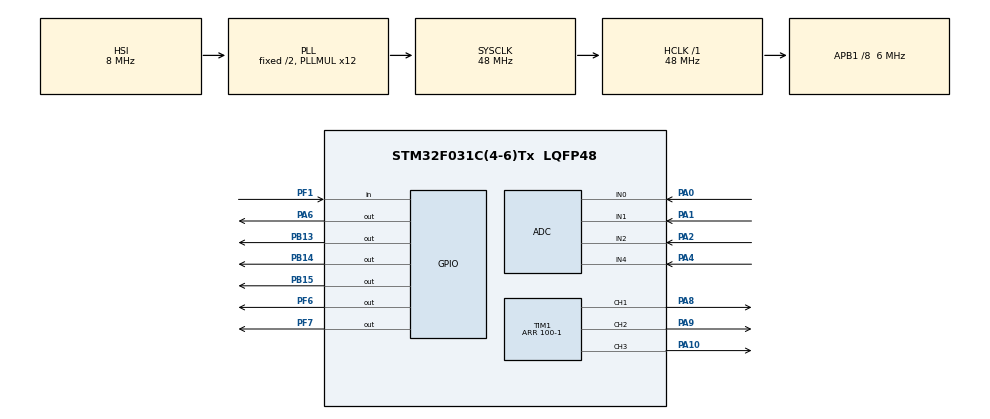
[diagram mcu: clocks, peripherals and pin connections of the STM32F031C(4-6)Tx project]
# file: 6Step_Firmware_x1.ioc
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Mcu.Family=STM32F0
PF7.PinState=GPIO_PIN_SET
TIM1.CounterMode=TIM_COUNTERMODE_CENTERALIGNED3
TIM1.Pulse-PWM\ Generation1\ CH1=50-1
RCC.APB1CLKDivider=RCC_HCLK_DIV8
PB13.Signal=GPIO_Output
PB15.Signal=GPIO_Output
RCC.SYSCLKSource=RCC_SYSCLKSOURCE_PLLCLK
ProjectManager.StackSize=0x400
VP_TIM2_VS_ClockSourceITR.Mode=TriggerSource_ITR0
TIM1.Pulse-PWM\ Generation3\ CH3=50-1
SH.S_TIM1_CH1.0=TIM1_CH1,PWM Generation1 CH1
NVIC.ADC1_IRQn=true\:0\:0\:true\:false\:true\:true\:true
PF6.Signal=GPIO_Output
PA4.Mode=IN4
PF6.PinState=GPIO_PIN_SET
ProjectManager.TargetToolchain=SW4STM32
PF7.Signal=GPIO_Output
VP_TIM2_VS_ControllerModeClock.Mode=Clock Mode
RCC.HCLKFreq_Value=48000000
PF1-OSC_OUT.GPIO_PuPd=GPIO_PULLUP
TIM3.Period=3
PA9.Signal=S_TIM1_CH2
TIM1.Channel-PWM\ Generation2\ CH2=TIM_CHANNEL_2
VP_TIM3_VS_ControllerModeClock.Mode=Clock Mode
PA1.Signal=ADC_IN1
RCC.AHBFreq_Value=48000000
PB14.Signal=GPIO_Output
board=custom
RCC.PLLMUL=RCC_PLL_MUL12
NVIC.TIM3_IRQn=true\:2\:0\:true\:false\:true\:true\:true
TIM1.TIM_MasterOutputTrigger=TIM_TRGO_UPDATE
PA1.Mode=IN1
SH.S_TIM1_CH2.0=TIM1_CH2,PWM Generation2 CH2
TIM1.Channel-PWM\ Generation1\ CH1=TIM_CHANNEL_1
NVIC.TIM2_IRQn=true\:1\:0\:true\:false\:true\:true\:true
PA0.Mode=IN0
PA8.Signal=S_TIM1_CH1
TIM2.Period=300
VP_TIM3_VS_ClockSourceITR.Mode=TriggerSource_ITR0
Mcu.Name=STM32F031C(4-6)Tx
PA2.Signal=ADC_IN2
PA0.Signal=ADC_IN0
PA4.Signal=ADC_IN4
RCC.SYSCLKFreq_VALUE=48000000
Mcu.Package=LQFP48
TIM2.Prescaler=500
PA6.Signal=GPIO_Output
TIM1.Pulse-PWM\ Generation2\ CH2=50-1
PA10.Signal=S_TIM1_CH3
ProjectManager.HeapSize=0x200
SH.S_TIM1_CH3.0=TIM1_CH3,PWM Generation3 CH3
RCC.APB1TimFreq_Value=12000000
PA2.Mode=IN2
TIM2.AutoReloadPreload=TIM_AUTORELOAD_PRELOAD_ENABLE
TIM1.Period=100-1
TIM1.Channel-PWM\ Generation3\ CH3=TIM_CHANNEL_3
RCC.APB1Freq_Value=6000000
ADC.ExternalTrigConv=ADC_EXTERNALTRIGCONV_T1_TRGO
PF1-OSC_OUT.Signal=GPIO_Input
TIM1.TIM_MasterSlaveMode=TIM_MASTERSLAVEMODE_ENABLE

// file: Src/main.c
/* USER CODE BEGIN Header */
/**
  ******************************************************************************
  * @file           : main.c
  * @brief          : Main program body
  ******************************************************************************
  * @attention
  *
  * <h2><center>&copy; Copyright (c) 2020 STMicroelectronics.
  * All rights reserved.</center></h2>
  *
  * This software component is licensed by ST under BSD 3-Clause license,
  * the "License"; You may not use this file except in compliance with the
  * License. You may obtain a copy of the License at:
  *                        opensource.org/licenses/BSD-3-Clause
  *
  ******************************************************************************
  */
/* USER CODE END Header */

#include "main.h"

/* USER CODE BEGIN Includes */
#include "stm32f0xx_hal.h"
#include "CurrentController.h"
#include "StepManager.h"
#include "StepManager_defs.h"
/* USER CODE END Includes */

/* USER CODE BEGIN PTD */
#define ADC_CURRENT_CHANNEL (ADC_CHANNEL_4)
/* USER CODE END PTD */

ADC_HandleTypeDef hadc;

TIM_HandleTypeDef htim1;
TIM_HandleTypeDef htim2;
TIM_HandleTypeDef htim3;

void SystemClock_Config(void);
static void MX_GPIO_Init(void);
static void MX_ADC_Init(void);
static void MX_TIM1_Init(void);
static void MX_TIM2_Init(void);
static void MX_TIM3_Init(void);

/* USER CODE BEGIN 0 */

// ADC Channel selection function copied from ST's MC SDK
static inline void ADC_Channel(uint32_t adc_ch)
{

  hadc.Instance->CR |= ADC_CR_ADSTP;
  while(hadc.Instance->CR & ADC_CR_ADSTP);
  /* Regular sequence configuration */
  /* Set the channel selection register from the selected channel */
  hadc.Instance->CHSELR = ADC_CHSELR_CHANNEL(adc_ch);
  hadc.Instance->CR |= ADC_CR_ADSTART;

}

void sampleBEMF()
{
  uint32_t bemf = HAL_ADC_GetValue(&hadc);
  SM_processBEMF(bemf);
  ADC_Channel(ADC_CURRENT_CHANNEL);
}

void sampleCurrent()
{
	uint32_t current = HAL_ADC_GetValue(&hadc);
	CC_processCurrent(current);
	uint32_t bemfchannel = SM_getBEMFChannel();
	ADC_Channel(bemfchannel);
}

/* USER CODE END 0 */

int main(void)
{

  /* MCU Configuration--------------------------------------------------------*/

  /* Reset of all peripherals, Initializes the Flash interface and the Systick. */
  HAL_Init();

  /* Configure the system clock */
  SystemClock_Config();

  /* Initialize all configured peripherals */
  MX_GPIO_Init();
  while (HAL_GPIO_ReadPin(GPIOF, GPIO_PIN_1) == GPIO_PIN_SET); //wait until button pressed to do anything
  MX_ADC_Init();
  MX_TIM1_Init();
  MX_TIM2_Init();
  MX_TIM3_Init();
  /* USER CODE BEGIN 2 */
  HAL_TIM_Base_Start_IT(&htim2);
  HAL_TIM_Base_Start_IT(&htim3);
  HAL_ADC_Start_IT(&hadc);
  SM_init();
  /* USER CODE END 2 */

  /* Infinite loop */
  while (1)
  {

  }
}

void SystemClock_Config(void)
{
  RCC_OscInitTypeDef RCC_OscInitStruct = {0};
  RCC_ClkInitTypeDef RCC_ClkInitStruct = {0};

  /** Initializes the CPU, AHB and APB busses clocks
  */
  RCC_OscInitStruct.OscillatorType = RCC_OSCILLATORTYPE_HSI|RCC_OSCILLATORTYPE_HSI14;
  RCC_OscInitStruct.HSIState = RCC_HSI_ON;
  RCC_OscInitStruct.HSI14State = RCC_HSI14_ON;
  RCC_OscInitStruct.HSICalibrationValue = RCC_HSICALIBRATION_DEFAULT;
  RCC_OscInitStruct.HSI14CalibrationValue = 16;
  RCC_OscInitStruct.PLL.PLLState = RCC_PLL_ON;
  RCC_OscInitStruct.PLL.PLLSource = RCC_PLLSOURCE_HSI;
  RCC_OscInitStruct.PLL.PLLMUL = RCC_PLL_MUL12;
  RCC_OscInitStruct.PLL.PREDIV = RCC_PREDIV_DIV1;
  if (HAL_RCC_OscConfig(&RCC_OscInitStruct) != HAL_OK)
  {
    Error_Handler();
  }
  /** Initializes the CPU, AHB and APB busses clocks
  */
  RCC_ClkInitStruct.ClockType = RCC_CLOCKTYPE_HCLK|RCC_CLOCKTYPE_SYSCLK
                              |RCC_CLOCKTYPE_PCLK1;
  RCC_ClkInitStruct.SYSCLKSource = RCC_SYSCLKSOURCE_PLLCLK;
  RCC_ClkInitStruct.AHBCLKDivider = RCC_SYSCLK_DIV1;
  RCC_ClkInitStruct.APB1CLKDivider = RCC_HCLK_DIV8;

  if (HAL_RCC_ClockConfig(&RCC_ClkInitStruct, FLASH_LATENCY_1) != HAL_OK)
  {
    Error_Handler();
  }
}

static void MX_ADC_Init(void)
{

  ADC_ChannelConfTypeDef sConfig = {0};

  /** Configure the global features of the ADC (Clock, Resolution, Data Alignment and number of conversion)
  */
  hadc.Instance = ADC1;
  hadc.Init.ClockPrescaler = ADC_CLOCK_ASYNC_DIV1;
  hadc.Init.Resolution = ADC_RESOLUTION_12B;
  hadc.Init.DataAlign = ADC_DATAALIGN_RIGHT;
  hadc.Init.ScanConvMode = ADC_SCAN_DIRECTION_FORWARD;
  hadc.Init.EOCSelection = ADC_EOC_SINGLE_CONV;
  hadc.Init.LowPowerAutoWait = DISABLE;
  hadc.Init.LowPowerAutoPowerOff = DISABLE;
  hadc.Init.ContinuousConvMode = DISABLE;
  hadc.Init.DiscontinuousConvMode = DISABLE;
  hadc.Init.ExternalTrigConv = ADC_EXTERNALTRIGCONV_T1_TRGO;
  hadc.Init.ExternalTrigConvEdge = ADC_EXTERNALTRIGCONVEDGE_RISING;
  hadc.Init.DMAContinuousRequests = DISABLE;
  hadc.Init.Overrun = ADC_OVR_DATA_PRESERVED;
  if (HAL_ADC_Init(&hadc) != HAL_OK)
  {
    Error_Handler();
  }
  /** Configure for the selected ADC regular channel to be converted.
  */
  sConfig.Channel = ADC_CHANNEL_0;
  sConfig.Rank = ADC_RANK_CHANNEL_NUMBER;
  sConfig.SamplingTime = ADC_SAMPLETIME_1CYCLE_5;
  if (HAL_ADC_ConfigChannel(&hadc, &sConfig) != HAL_OK)
  {
    Error_Handler();
  }
  /** Configure for the selected ADC regular channel to be converted.
  */
  sConfig.Channel = ADC_CHANNEL_1;
  if (HAL_ADC_ConfigChannel(&hadc, &sConfig) != HAL_OK)
  {
    Error_Handler();
  }
  /** Configure for the selected ADC regular channel to be converted.
  */
  sConfig.Channel = ADC_CHANNEL_2;
  if (HAL_ADC_ConfigChannel(&hadc, &sConfig) != HAL_OK)
  {
    Error_Handler();
  }
  /** Configure for the selected ADC regular channel to be converted.
  */
  sConfig.Channel = ADC_CHANNEL_4;
  if (HAL_ADC_ConfigChannel(&hadc, &sConfig) != HAL_OK)
  {
    Error_Handler();
  }

}

static void MX_TIM1_Init(void)
{

  TIM_MasterConfigTypeDef sMasterConfig = {0};
  TIM_OC_InitTypeDef sConfigOC = {0};
  TIM_BreakDeadTimeConfigTypeDef sBreakDeadTimeConfig = {0};

  htim1.Instance = TIM1;
  htim1.Init.Prescaler = 0;
  htim1.Init.CounterMode = TIM_COUNTERMODE_CENTERALIGNED3;
  htim1.Init.Period = HF_TIM_PERIOD;
  htim1.Init.ClockDivision = TIM_CLOCKDIVISION_DIV1;
  htim1.Init.RepetitionCounter = 0;
  htim1.Init.AutoReloadPreload = TIM_AUTORELOAD_PRELOAD_DISABLE;
  if (HAL_TIM_PWM_Init(&htim1) != HAL_OK)
  {
    Error_Handler();
  }
  sMasterConfig.MasterOutputTrigger = TIM_TRGO_UPDATE;
  sMasterConfig.MasterSlaveMode = TIM_MASTERSLAVEMODE_ENABLE;
  if (HAL_TIMEx_MasterConfigSynchronization(&htim1, &sMasterConfig) != HAL_OK)
  {
    Error_Handler();
  }
  sConfigOC.OCMode = TIM_OCMODE_PWM1;
  sConfigOC.Pulse = 50-1;
  sConfigOC.OCPolarity = TIM_OCPOLARITY_HIGH;
  sConfigOC.OCNPolarity = TIM_OCNPOLARITY_HIGH;
  sConfigOC.OCFastMode = TIM_OCFAST_DISABLE;
  sConfigOC.OCIdleState = TIM_OCIDLESTATE_RESET;
  sConfigOC.OCNIdleState = TIM_OCNIDLESTATE_RESET;
  if (HAL_TIM_PWM_ConfigChannel(&htim1, &sConfigOC, TIM_CHANNEL_1) != HAL_OK)
  {
    Error_Handler();
  }
  if (HAL_TIM_PWM_ConfigChannel(&htim1, &sConfigOC, TIM_CHANNEL_2) != HAL_OK)
  {
    Error_Handler();
  }
  if (HAL_TIM_PWM_ConfigChannel(&htim1, &sConfigOC, TIM_CHANNEL_3) != HAL_OK)
  {
    Error_Handler();
  }
  sBreakDeadTimeConfig.OffStateRunMode = TIM_OSSR_DISABLE;
  sBreakDeadTimeConfig.OffStateIDLEMode = TIM_OSSI_DISABLE;
  sBreakDeadTimeConfig.LockLevel = TIM_LOCKLEVEL_OFF;
  sBreakDeadTimeConfig.DeadTime = 0;
  sBreakDeadTimeConfig.BreakState = TIM_BREAK_DISABLE;
  sBreakDeadTimeConfig.BreakPolarity = TIM_BREAKPOLARITY_HIGH;
  sBreakDeadTimeConfig.AutomaticOutput = TIM_AUTOMATICOUTPUT_DISABLE;
  if (HAL_TIMEx_ConfigBreakDeadTime(&htim1, &sBreakDeadTimeConfig) != HAL_OK)
  {
    Error_Handler();
  }
  HAL_TIM_MspPostInit(&htim1);

}

static void MX_TIM2_Init(void)
{

  TIM_SlaveConfigTypeDef sSlaveConfig = {0};
  TIM_MasterConfigTypeDef sMasterConfig = {0};

  htim2.Instance = TIM2;
  htim2.Init.Prescaler = 0;
  htim2.Init.CounterMode = TIM_COUNTERMODE_UP;
  htim2.Init.Period = ALIGNMENT_ARR;
  htim2.Init.ClockDivision = TIM_CLOCKDIVISION_DIV1;
  htim2.Init.AutoReloadPreload = TIM_AUTORELOAD_PRELOAD_DISABLE;
  if (HAL_TIM_Base_Init(&htim2) != HAL_OK)
  {
    Error_Handler();
  }
  sSlaveConfig.SlaveMode = TIM_SLAVEMODE_EXTERNAL1;
  sSlaveConfig.InputTrigger = TIM_TS_ITR0;
  if (HAL_TIM_SlaveConfigSynchro(&htim2, &sSlaveConfig) != HAL_OK)
  {
    Error_Handler();
  }
  sMasterConfig.MasterOutputTrigger = TIM_TRGO_RESET;
  sMasterConfig.MasterSlaveMode = TIM_MASTERSLAVEMODE_DISABLE;
  if (HAL_TIMEx_MasterConfigSynchronization(&htim2, &sMasterConfig) != HAL_OK)
  {
    Error_Handler();
  }

}

static void MX_TIM3_Init(void)
{

  TIM_SlaveConfigTypeDef sSlaveConfig = {0};
  TIM_MasterConfigTypeDef sMasterConfig = {0};

  htim3.Instance = TIM3;
  htim3.Init.Prescaler = 0;
  htim3.Init.CounterMode = TIM_COUNTERMODE_UP;
  htim3.Init.Period = ICONTROL_PERIOD;
  htim3.Init.ClockDivision = TIM_CLOCKDIVISION_DIV1;
  htim3.Init.AutoReloadPreload = TIM_AUTORELOAD_PRELOAD_DISABLE;
  if (HAL_TIM_Base_Init(&htim3) != HAL_OK)
  {
    Error_Handler();
  }
  sSlaveConfig.SlaveMode = TIM_SLAVEMODE_EXTERNAL1;
  sSlaveConfig.InputTrigger = TIM_TS_ITR0;
  if (HAL_TIM_SlaveConfigSynchro(&htim3, &sSlaveConfig) != HAL_OK)
  {
    Error_Handler();
  }
  sMasterConfig.MasterOutputTrigger = TIM_TRGO_RESET;
  sMasterConfig.MasterSlaveMode = TIM_MASTERSLAVEMODE_DISABLE;
  if (HAL_TIMEx_MasterConfigSynchronization(&htim3, &sMasterConfig) != HAL_OK)
  {
    Error_Handler();
  }

}

static void MX_GPIO_Init(void)
{
  GPIO_InitTypeDef GPIO_InitStruct = {0};

  /* GPIO Ports Clock Enable */
  __HAL_RCC_GPIOF_CLK_ENABLE();
  __HAL_RCC_GPIOA_CLK_ENABLE();
  __HAL_RCC_GPIOB_CLK_ENABLE();

  /*Configure GPIO pin Output Level */
  HAL_GPIO_WritePin(GPIOA, GPIO_PIN_6, GPIO_PIN_RESET);

  /*Configure GPIO pin Output Level */
  HAL_GPIO_WritePin(GPIOB, GPIO_PIN_13|GPIO_PIN_14|GPIO_PIN_15, GPIO_PIN_RESET);

  /*Configure GPIO pin Output Level */
  HAL_GPIO_WritePin(GPIOF, GPIO_PIN_6|GPIO_PIN_7, GPIO_PIN_SET);

  /*Configure GPIO pin : PF1 */
  GPIO_InitStruct.Pin = GPIO_PIN_1;
  GPIO_InitStruct.Mode = GPIO_MODE_INPUT;
  GPIO_InitStruct.Pull = GPIO_PULLUP;
  HAL_GPIO_Init(GPIOF, &GPIO_InitStruct);

  /*Configure GPIO pin : PA6 */
  GPIO_InitStruct.Pin = GPIO_PIN_6;
  GPIO_InitStruct.Mode = GPIO_MODE_OUTPUT_PP;
  GPIO_InitStruct.Pull = GPIO_NOPULL;
  GPIO_InitStruct.Speed = GPIO_SPEED_FREQ_LOW;
  HAL_GPIO_Init(GPIOA, &GPIO_InitStruct);

  /*Configure GPIO pins : PB13 PB14 PB15 */
  GPIO_InitStruct.Pin = GPIO_PIN_13|GPIO_PIN_14|GPIO_PIN_15;
  GPIO_InitStruct.Mode = GPIO_MODE_OUTPUT_PP;
  GPIO_InitStruct.Pull = GPIO_NOPULL;
  GPIO_InitStruct.Speed = GPIO_SPEED_FREQ_LOW;
  HAL_GPIO_Init(GPIOB, &GPIO_InitStruct);

  /*Configure GPIO pins : PF6 PF7 */
  GPIO_InitStruct.Pin = GPIO_PIN_6|GPIO_PIN_7;
  GPIO_InitStruct.Mode = GPIO_MODE_OUTPUT_PP;
  GPIO_InitStruct.Pull = GPIO_NOPULL;
  GPIO_InitStruct.Speed = GPIO_SPEED_FREQ_LOW;
  HAL_GPIO_Init(GPIOF, &GPIO_InitStruct);

}

/* USER CODE BEGIN 4 */

//just some dummy variables to test the control loop
volatile double isamp, iref, bemf_estimation, motor_vsupply;

void HAL_ADC_ConvCpltCallback(ADC_HandleTypeDef* hadc){
  /* This is called after the conversion is completed */

  if(__HAL_TIM_IS_TIM_COUNTING_DOWN(&htim1))
  {
  	  //read bemf
	  sampleBEMF();
  }
  else
  {
  	  //read current
	  sampleCurrent();

  }

}

/* USER CODE END 4 */

void Error_Handler(void)
{
}

/************************ (C) COPYRIGHT STMicroelectronics *****END OF FILE****/
